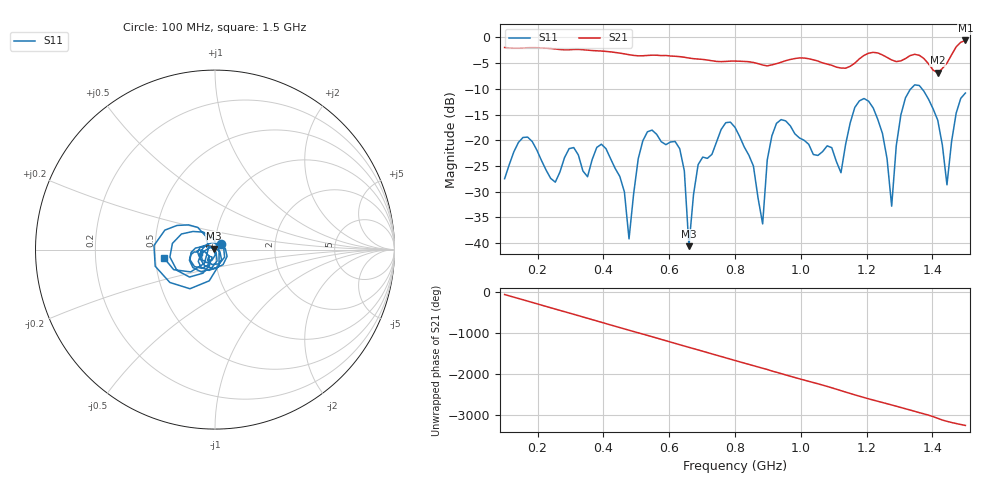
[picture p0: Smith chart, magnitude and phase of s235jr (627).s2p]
! NanoVNA-App
! Date: 2025-09-25 15:09:03
! Start: 100MHz Stop: 1,5GHz Points: 101
! S-Parameter data: F S11 S21 S12 S22
# Hz S RI R 50
!  Frequency  S11_Real  S11_Imag  S21_Real  S21_Imag  S12_Real  S12_Imag  S22_Real  S22_Imag
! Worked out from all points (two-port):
!   101 points, 100 MHz to 1.5 GHz, reference 50 ohm
!   highest |S21| = -0.60 dB at 1.5 GHz (marker M1); lowest = -6.9 dB at 1.416 GHz (marker M2)
!   |S21| within 3 dB of the highest: start of sweep to 600.5 MHz; 1.19 GHz to 1.253 GHz (63.36 MHz wide, 5.19 % of centre) (the widest 2 of 4)
!   lowest |S11| = -40.6 dB at 660 MHz (marker M3), VSWR 1.02, Z = 49.3 + j0.602 ohm
!   |S11| at or under -10 dB: start of sweep to 1.334 GHz; 1.368 GHz to end of sweep
!   S12 and S22 are empty: the file has one direction only
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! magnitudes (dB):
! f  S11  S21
! 100 MHz  -27.5  -2.0
! 156 MHz  -19.4  -2.1
! 338 MHz  -26.0  -2.4
! 408 MHz  -21.6  -2.7
! 478 MHz  -39.2  -3.4
! 520 MHz  -20.1  -3.6
! 576 MHz  -20.3  -3.5
! 632 MHz  -21.6  -3.7
! 660 MHz  -40.6  -4.0
! 688 MHz  -24.7  -4.2
! 800 MHz  -17.5  -4.6
! 884 MHz  -36.2  -5.4
! 926 MHz  -16.7  -5.1
! 1.038 GHz  -22.8  -4.4
! 1.122 GHz  -26.3  -6.0
! 1.206 GHz  -12.4  -3.1
! 1.248 GHz  -18.7  -3.4
! 1.276 GHz  -32.8  -4.4
! 1.318 GHz  -11.7  -4.1
! 1.416 GHz  -16.1  -6.9
! 1.444 GHz  -28.7  -5.0
! 1.5 GHz  -10.8  -0.6
